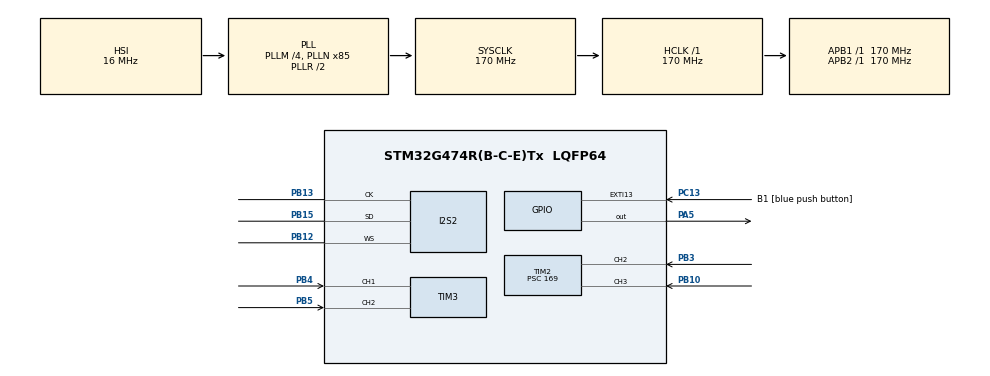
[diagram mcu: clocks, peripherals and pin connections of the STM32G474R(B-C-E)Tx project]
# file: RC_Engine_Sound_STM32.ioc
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Dma.Request0=SPI2_TX
Dma.SPI2_TX.0.Direction=DMA_MEMORY_TO_PERIPH
Dma.SPI2_TX.0.EventEnable=DISABLE
Dma.SPI2_TX.0.Instance=DMA1_Channel1
Dma.SPI2_TX.0.MemDataAlignment=DMA_MDATAALIGN_HALFWORD
Dma.SPI2_TX.0.MemInc=DMA_MINC_ENABLE
Dma.SPI2_TX.0.Mode=DMA_CIRCULAR
Dma.SPI2_TX.0.PeriphDataAlignment=DMA_PDATAALIGN_HALFWORD
Dma.SPI2_TX.0.PeriphInc=DMA_PINC_DISABLE
Dma.SPI2_TX.0.Polarity=HAL_DMAMUX_REQ_GEN_RISING
Dma.SPI2_TX.0.Priority=DMA_PRIORITY_VERY_HIGH
Dma.SPI2_TX.0.RequestNumber=1
Dma.SPI2_TX.0.SignalID=NONE
Dma.SPI2_TX.0.SyncEnable=DISABLE
Dma.SPI2_TX.0.SyncPolarity=HAL_DMAMUX_SYNC_NO_EVENT
Dma.SPI2_TX.0.SyncRequestNumber=1
Dma.SPI2_TX.0.SyncSignalID=NONE
I2S2.AudioFreq=I2S_AUDIOFREQ_44K
I2S2.ErrorAudioFreq=-0.21 %
I2S2.FullDuplexMode=I2S_FULLDUPLEXMODE_DISABLE
I2S2.Instance=SPI$Index
I2S2.RealAudioFreq=43.904 KHz
I2S2.VirtualMode=I2S_MODE_MASTER
Mcu.Family=STM32G4
Mcu.Name=STM32G474R(B-C-E)Tx
Mcu.Package=LQFP64
NUCLEO-G474RE.Bsp_Common_DEMO=true
NUCLEO-G474RE.LD2=true
NUCLEO-G474RE.VCP=true
NVIC.DMA1_Channel1_IRQn=true\:0\:0\:false\:false\:true\:false\:true\:true
NVIC.EXTI15_10_IRQn=true\:0\:0\:false\:false\:true\:true\:true\:true
NVIC.PriorityGroup=NVIC_PRIORITYGROUP_4
NVIC.TIM2_IRQn=true\:0\:0\:false\:false\:true\:true\:true\:true
NVIC.TIM3_IRQn=true\:0\:0\:false\:false\:true\:true\:true\:true
PA13.GPIO_Label=T_SWDIO
PA13.Mode=Serial_Wire
PA13.Signal=SYS_JTMS-SWDIO
PA14.GPIO_Label=T_SWCLK
PA14.Mode=Serial_Wire
PA14.Signal=SYS_JTCK-SWCLK
PA2.Signal=LPUART1_TX
PA3.Signal=LPUART1_RX
PA5.Signal=GPIO_Output
PB10.Signal=S_TIM2_CH3
PB12.Mode=Half_Duplex_Master
PB12.Signal=I2S2_WS
PB13.Mode=Half_Duplex_Master
PB13.Signal=I2S2_CK
PB15.Mode=Half_Duplex_Master
PB15.Signal=I2S2_SD
PB3.Signal=S_TIM2_CH2
PB4.Signal=S_TIM3_CH1
PB5.Signal=S_TIM3_CH2
PC13.GPIO_Label=B1 [blue push button]
PC13.Signal=GPXTI13
PC14-OSC32_IN.GPIO_Label=RCC_OSC32_IN
PC14-OSC32_IN.Signal=RCC_OSC32_IN
PC15-OSC32_OUT.GPIO_Label=RCC_OSC32_OUT
PC15-OSC32_OUT.Signal=RCC_OSC32_OUT
PF0-OSC_IN.GPIO_Label=RCC_OSC_IN
PF0-OSC_IN.Signal=RCC_OSC_IN
PF1-OSC_OUT.GPIO_Label=RCC_OSC_OUT
PF1-OSC_OUT.Signal=RCC_OSC_OUT
ProjectManager.HeapSize=0x200
ProjectManager.StackSize=0x400
ProjectManager.TargetToolchain=STM32CubeIDE
RCC.ADC12Freq_Value=170000000
RCC.ADC345Freq_Value=170000000
RCC.AHBFreq_Value=170000000
RCC.APB1Freq_Value=170000000
RCC.APB1TimFreq_Value=170000000
RCC.APB2Freq_Value=170000000
RCC.APB2TimFreq_Value=170000000
RCC.CortexFreq_Value=170000000
RCC.EXTERNAL_CLOCK_VALUE=12288000
RCC.HCLKFreq_Value=170000000
RCC.HSE_VALUE=24000000
RCC.HSI48_VALUE=48000000
RCC.HSI_VALUE=16000000
RCC.LSE_VALUE=32768
RCC.PLLM=RCC_PLLM_DIV4
RCC.PLLN=85
RCC.RTCClockSelection=RCC_RTCCLKSOURCE_LSE
RCC.SYSCLKFreq_VALUE=170000000
RCC.SYSCLKSource=RCC_SYSCLKSOURCE_PLLCLK
RCC.USBFreq_Value=170000000
RCC.VCOOutputFreq_Value=340000000
SH.S_TIM2_CH2.0=TIM2_CH2,Input_Capture2_from_TI2
SH.S_TIM2_CH3.0=TIM2_CH3,Input_Capture3_from_TI3
SH.S_TIM3_CH1.0=TIM3_CH1,Input_Capture1_from_TI1
SH.S_TIM3_CH2.0=TIM3_CH2,Input_Capture2_from_TI2
TIM2.Channel-Input_Capture2_from_TI2=TIM_CHANNEL_2
TIM2.Channel-Input_Capture3_from_TI3=TIM_CHANNEL_3
TIM2.PeriodNoDither=170001
TIM2.Prescaler=169
TIM3.Channel-Input_Capture1_from_TI1=TIM_CHANNEL_1
TIM3.Channel-Input_Capture2_from_TI2=TIM_CHANNEL_2
VP_NUCLEO-G474RE_VS_BSP_COMMON.Mode=COMMON
VP_SYS_VS_DBSignals.Mode=DisableDeadBatterySignals
board=NUCLEO-G474RE

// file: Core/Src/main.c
/* USER CODE BEGIN Header */
/**
  ******************************************************************************
  * @file           : main.c
  * @brief          : Main program body
  ******************************************************************************
  * @attention
  *
  * Copyright (c) 2026 STMicroelectronics.
  * All rights reserved.
  *
  * This software is licensed under terms that can be found in the LICENSE file
  * in the root directory of this software component.
  * If no LICENSE file comes with this software, it is provided AS-IS.
  *
  ******************************************************************************
  */
/* USER CODE END Header */
#include "main.h"

/* USER CODE BEGIN Includes */
#include "boardConfig.h"
#include "audioEngine.h"
#include "boardConfig.h"
#include "engineModel.h"
#include "rcInput.h"
/* USER CODE END Includes */

COM_InitTypeDef BspCOMInit;
__IO uint32_t BspButtonState = BUTTON_RELEASED;
I2S_HandleTypeDef hi2s2;
DMA_HandleTypeDef hdma_spi2_tx;

TIM_HandleTypeDef htim2;
TIM_HandleTypeDef htim3;

void SystemClock_Config(void);
static void MX_GPIO_Init(void);
static void MX_DMA_Init(void);
static void MX_I2S2_Init(void);
static void MX_TIM2_Init(void);
static void MX_TIM3_Init(void);

int main(void)
{

  /* MCU Configuration--------------------------------------------------------*/

  /* Reset of all peripherals, Initializes the Flash interface and the Systick. */
  HAL_Init();

  /* Configure the system clock */
  SystemClock_Config();

  /* Initialize all configured peripherals */
  MX_GPIO_Init();
  MX_DMA_Init();
  MX_I2S2_Init();
  MX_TIM2_Init();
  MX_TIM3_Init();
  /* USER CODE BEGIN 2 */
  rcInputInit(&htim2, &htim3);
  rcInputStart();
  /* USER CODE END 2 */

  /* Initialize led */
  BSP_LED_Init(LED_GREEN);

  /* Initialize COM1 port (115200, 8 bits (7-bit data + 1 stop bit), no parity */
  BspCOMInit.BaudRate   = 115200;
  BspCOMInit.WordLength = COM_WORDLENGTH_8B;
  BspCOMInit.StopBits   = COM_STOPBITS_1;
  BspCOMInit.Parity     = COM_PARITY_NONE;
  BspCOMInit.HwFlowCtl  = COM_HWCONTROL_NONE;
  if (BSP_COM_Init(COM1, &BspCOMInit) != BSP_ERROR_NONE)
  {
    Error_Handler();
  }

  /* USER CODE BEGIN BSP */

  /* -- Sample board code to send message over COM1 port ---- */
  printf("Welcome to STM32 world !\n\r");

  /* -- Sample board code to switch on led ---- */
  BSP_LED_On(LED_GREEN);

  /* USER CODE END BSP */

  /* Infinite loop */
  while (1)
  {

    /* USER CODE BEGIN 3 */
    static uint32_t lastPrintMs = 0U;
    uint32_t nowMs = HAL_GetTick();

    rcInputUpdate(nowMs);

    if ((nowMs - lastPrintMs) >= 200U)
    {
      RcInputState rcState = rcInputGetState();
      lastPrintMs = nowMs;
      printf("RC PWM us: CH1=%u%s CH2=%u%s CH3=%u%s CH4=%u%s\r\n",
        rcState.pulseWidthUs[0],
        rcState.signalValid[0] ? "" : " (n/a)",
        rcState.pulseWidthUs[1],
        rcState.signalValid[1] ? "" : " (n/a)",
        rcState.pulseWidthUs[2],
        rcState.signalValid[2] ? "" : " (n/a)",
        rcState.pulseWidthUs[3],
        rcState.signalValid[3] ? "" : " (n/a)");
    }
  }
  /* USER CODE END 3 */
}

void SystemClock_Config(void)
{
  RCC_OscInitTypeDef RCC_OscInitStruct = {0};
  RCC_ClkInitTypeDef RCC_ClkInitStruct = {0};

  /** Configure the main internal regulator output voltage
  */
  HAL_PWREx_ControlVoltageScaling(PWR_REGULATOR_VOLTAGE_SCALE1_BOOST);

  /** Initializes the RCC Oscillators according to the specified parameters
  * in the RCC_OscInitTypeDef structure.
  */
  RCC_OscInitStruct.OscillatorType = RCC_OSCILLATORTYPE_HSI;
  RCC_OscInitStruct.HSIState = RCC_HSI_ON;
  RCC_OscInitStruct.HSICalibrationValue = RCC_HSICALIBRATION_DEFAULT;
  RCC_OscInitStruct.PLL.PLLState = RCC_PLL_ON;
  RCC_OscInitStruct.PLL.PLLSource = RCC_PLLSOURCE_HSI;
  RCC_OscInitStruct.PLL.PLLM = RCC_PLLM_DIV4;
  RCC_OscInitStruct.PLL.PLLN = 85;
  RCC_OscInitStruct.PLL.PLLP = RCC_PLLP_DIV2;
  RCC_OscInitStruct.PLL.PLLQ = RCC_PLLQ_DIV2;
  RCC_OscInitStruct.PLL.PLLR = RCC_PLLR_DIV2;
  if (HAL_RCC_OscConfig(&RCC_OscInitStruct) != HAL_OK)
  {
    Error_Handler();
  }

  /** Initializes the CPU, AHB and APB buses clocks
  */
  RCC_ClkInitStruct.ClockType = RCC_CLOCKTYPE_HCLK|RCC_CLOCKTYPE_SYSCLK
                              |RCC_CLOCKTYPE_PCLK1|RCC_CLOCKTYPE_PCLK2;
  RCC_ClkInitStruct.SYSCLKSource = RCC_SYSCLKSOURCE_PLLCLK;
  RCC_ClkInitStruct.AHBCLKDivider = RCC_SYSCLK_DIV1;
  RCC_ClkInitStruct.APB1CLKDivider = RCC_HCLK_DIV1;
  RCC_ClkInitStruct.APB2CLKDivider = RCC_HCLK_DIV1;

  if (HAL_RCC_ClockConfig(&RCC_ClkInitStruct, FLASH_LATENCY_4) != HAL_OK)
  {
    Error_Handler();
  }
}

static void MX_I2S2_Init(void)
{

  hi2s2.Instance = SPI2;
  hi2s2.Init.Mode = I2S_MODE_MASTER_TX;
  hi2s2.Init.Standard = I2S_STANDARD_PHILIPS;
  hi2s2.Init.DataFormat = I2S_DATAFORMAT_16B;
  hi2s2.Init.MCLKOutput = I2S_MCLKOUTPUT_DISABLE;
  hi2s2.Init.AudioFreq = I2S_AUDIOFREQ_44K;
  hi2s2.Init.CPOL = I2S_CPOL_LOW;
  if (HAL_I2S_Init(&hi2s2) != HAL_OK)
  {
    Error_Handler();
  }

}

static void MX_TIM2_Init(void)
{

  TIM_MasterConfigTypeDef sMasterConfig = {0};
  TIM_IC_InitTypeDef sConfigIC = {0};

  htim2.Instance = TIM2;
  htim2.Init.Prescaler = 169;
  htim2.Init.CounterMode = TIM_COUNTERMODE_UP;
  htim2.Init.Period = 170001;
  htim2.Init.ClockDivision = TIM_CLOCKDIVISION_DIV1;
  htim2.Init.AutoReloadPreload = TIM_AUTORELOAD_PRELOAD_DISABLE;
  if (HAL_TIM_IC_Init(&htim2) != HAL_OK)
  {
    Error_Handler();
  }
  sMasterConfig.MasterOutputTrigger = TIM_TRGO_RESET;
  sMasterConfig.MasterSlaveMode = TIM_MASTERSLAVEMODE_DISABLE;
  if (HAL_TIMEx_MasterConfigSynchronization(&htim2, &sMasterConfig) != HAL_OK)
  {
    Error_Handler();
  }
  sConfigIC.ICPolarity = TIM_INPUTCHANNELPOLARITY_RISING;
  sConfigIC.ICSelection = TIM_ICSELECTION_DIRECTTI;
  sConfigIC.ICPrescaler = TIM_ICPSC_DIV1;
  sConfigIC.ICFilter = 0;
  if (HAL_TIM_IC_ConfigChannel(&htim2, &sConfigIC, TIM_CHANNEL_2) != HAL_OK)
  {
    Error_Handler();
  }
  if (HAL_TIM_IC_ConfigChannel(&htim2, &sConfigIC, TIM_CHANNEL_3) != HAL_OK)
  {
    Error_Handler();
  }

}

static void MX_TIM3_Init(void)
{

  TIM_MasterConfigTypeDef sMasterConfig = {0};
  TIM_IC_InitTypeDef sConfigIC = {0};

  htim3.Instance = TIM3;
  htim3.Init.Prescaler = 0;
  htim3.Init.CounterMode = TIM_COUNTERMODE_UP;
  htim3.Init.Period = 65535;
  htim3.Init.ClockDivision = TIM_CLOCKDIVISION_DIV1;
  htim3.Init.AutoReloadPreload = TIM_AUTORELOAD_PRELOAD_DISABLE;
  if (HAL_TIM_IC_Init(&htim3) != HAL_OK)
  {
    Error_Handler();
  }
  sMasterConfig.MasterOutputTrigger = TIM_TRGO_RESET;
  sMasterConfig.MasterSlaveMode = TIM_MASTERSLAVEMODE_DISABLE;
  if (HAL_TIMEx_MasterConfigSynchronization(&htim3, &sMasterConfig) != HAL_OK)
  {
    Error_Handler();
  }
  sConfigIC.ICPolarity = TIM_INPUTCHANNELPOLARITY_RISING;
  sConfigIC.ICSelection = TIM_ICSELECTION_DIRECTTI;
  sConfigIC.ICPrescaler = TIM_ICPSC_DIV1;
  sConfigIC.ICFilter = 0;
  if (HAL_TIM_IC_ConfigChannel(&htim3, &sConfigIC, TIM_CHANNEL_1) != HAL_OK)
  {
    Error_Handler();
  }
  if (HAL_TIM_IC_ConfigChannel(&htim3, &sConfigIC, TIM_CHANNEL_2) != HAL_OK)
  {
    Error_Handler();
  }

}

static void MX_DMA_Init(void)
{

  /* DMA controller clock enable */
  __HAL_RCC_DMAMUX1_CLK_ENABLE();
  __HAL_RCC_DMA1_CLK_ENABLE();

  /* DMA interrupt init */
  /* DMA1_Channel1_IRQn interrupt configuration */
  HAL_NVIC_SetPriority(DMA1_Channel1_IRQn, 0, 0);
  HAL_NVIC_EnableIRQ(DMA1_Channel1_IRQn);

}

static void MX_GPIO_Init(void)
{
  GPIO_InitTypeDef GPIO_InitStruct = {0};

  /* GPIO Ports Clock Enable */
  __HAL_RCC_GPIOC_CLK_ENABLE();
  __HAL_RCC_GPIOF_CLK_ENABLE();
  __HAL_RCC_GPIOB_CLK_ENABLE();
  __HAL_RCC_GPIOA_CLK_ENABLE();

  /*Configure GPIO pin : B1_Pin */
  GPIO_InitStruct.Pin = B1_Pin;
  GPIO_InitStruct.Mode = GPIO_MODE_IT_RISING;
  GPIO_InitStruct.Pull = GPIO_NOPULL;
  HAL_GPIO_Init(B1_GPIO_Port, &GPIO_InitStruct);

  /* EXTI interrupt init*/
  HAL_NVIC_SetPriority(EXTI15_10_IRQn, 0, 0);
  HAL_NVIC_EnableIRQ(EXTI15_10_IRQn);

}

void Error_Handler(void)
{
  __disable_irq();
  while (1)
  {
  }
}
